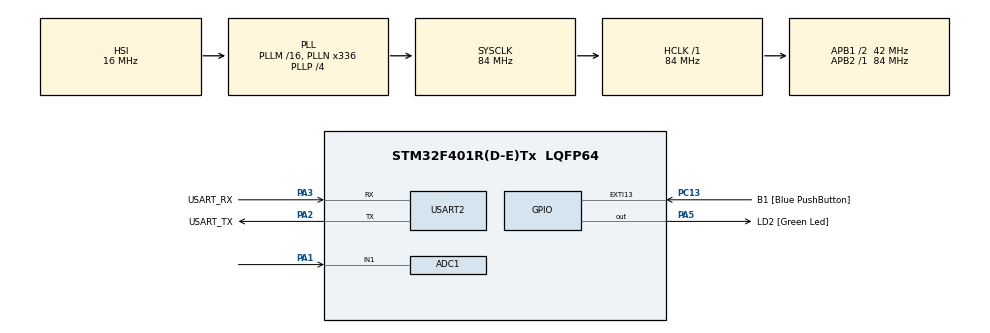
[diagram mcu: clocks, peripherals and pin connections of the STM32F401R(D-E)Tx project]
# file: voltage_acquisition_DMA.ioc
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ADC1.Channel-0\#ChannelRegularConversion=ADC_CHANNEL_1
ADC1.Channel-1\#ChannelRegularConversion=ADC_CHANNEL_TEMPSENSOR
ADC1.Channel-2\#ChannelRegularConversion=ADC_CHANNEL_VREFINT
ADC1.DMAContinuousRequests=ENABLE
ADC1.EnableAnalogWatchDog=false
ADC1.ExternalTrigConv=ADC_EXTERNALTRIGCONV_T2_TRGO
ADC1.InjNumberOfConversion=0
ADC1.NbrOfConversion=3
ADC1.NbrOfConversionFlag=1
ADC1.Rank-0\#ChannelRegularConversion=1
ADC1.Rank-1\#ChannelRegularConversion=2
ADC1.Rank-2\#ChannelRegularConversion=3
ADC1.SamplingTime-0\#ChannelRegularConversion=ADC_SAMPLETIME_480CYCLES
ADC1.SamplingTime-1\#ChannelRegularConversion=ADC_SAMPLETIME_480CYCLES
ADC1.SamplingTime-2\#ChannelRegularConversion=ADC_SAMPLETIME_480CYCLES
ADC1.master=1
Dma.ADC1.0.Direction=DMA_PERIPH_TO_MEMORY
Dma.ADC1.0.FIFOMode=DMA_FIFOMODE_DISABLE
Dma.ADC1.0.Instance=DMA2_Stream0
Dma.ADC1.0.MemDataAlignment=DMA_MDATAALIGN_HALFWORD
Dma.ADC1.0.MemInc=DMA_MINC_ENABLE
Dma.ADC1.0.Mode=DMA_CIRCULAR
Dma.ADC1.0.PeriphDataAlignment=DMA_PDATAALIGN_HALFWORD
Dma.ADC1.0.PeriphInc=DMA_PINC_DISABLE
Dma.ADC1.0.Priority=DMA_PRIORITY_VERY_HIGH
Dma.Request0=ADC1
Dma.Request1=USART2_TX
Dma.USART2_TX.1.Direction=DMA_MEMORY_TO_PERIPH
Dma.USART2_TX.1.FIFOMode=DMA_FIFOMODE_DISABLE
Dma.USART2_TX.1.Instance=DMA1_Stream6
Dma.USART2_TX.1.MemDataAlignment=DMA_MDATAALIGN_BYTE
Dma.USART2_TX.1.MemInc=DMA_MINC_ENABLE
Dma.USART2_TX.1.Mode=DMA_NORMAL
Dma.USART2_TX.1.PeriphDataAlignment=DMA_PDATAALIGN_BYTE
Dma.USART2_TX.1.PeriphInc=DMA_PINC_DISABLE
Dma.USART2_TX.1.Priority=DMA_PRIORITY_HIGH
Mcu.Family=STM32F4
Mcu.Name=STM32F401R(D-E)Tx
Mcu.Package=LQFP64
NVIC.ADC_IRQn=true\:0\:0\:false\:false\:true\:true\:true\:true
NVIC.DMA1_Stream6_IRQn=true\:0\:0\:false\:false\:true\:false\:true\:true
NVIC.DMA2_Stream0_IRQn=true\:0\:0\:false\:false\:true\:false\:true\:true
NVIC.PriorityGroup=NVIC_PRIORITYGROUP_4
NVIC.USART2_IRQn=true\:0\:0\:false\:false\:true\:true\:true\:true
PA1.Signal=ADCx_IN1
PA13.GPIO_Label=TMS
PA13.Mode=Trace_Asynchronous_SW
PA13.Signal=SYS_JTMS-SWDIO
PA14.GPIO_Label=TCK
PA14.Mode=Trace_Asynchronous_SW
PA14.Signal=SYS_JTCK-SWCLK
PA2.GPIO_Label=USART_TX
PA2.GPIO_Mode=GPIO_MODE_AF_PP
PA2.GPIO_PuPd=GPIO_NOPULL
PA2.GPIO_Speed=GPIO_SPEED_FREQ_LOW
PA2.Mode=Asynchronous
PA2.Signal=USART2_TX
PA3.GPIO_Label=USART_RX
PA3.GPIO_Mode=GPIO_MODE_AF_PP
PA3.GPIO_PuPd=GPIO_NOPULL
PA3.GPIO_Speed=GPIO_SPEED_FREQ_LOW
PA3.Mode=Asynchronous
PA3.Signal=USART2_RX
PA5.GPIO_Label=LD2 [Green Led]
PA5.GPIO_Mode=GPIO_MODE_OUTPUT_PP
PA5.GPIO_PuPd=GPIO_NOPULL
PA5.GPIO_Speed=GPIO_SPEED_FREQ_LOW
PA5.Signal=GPIO_Output
PB3.GPIO_Label=SWO
PB3.Mode=Trace_Asynchronous_SW
PB3.Signal=SYS_JTDO-SWO
PC13-ANTI_TAMP.GPIO_Label=B1 [Blue PushButton]
PC13-ANTI_TAMP.GPIO_ModeDefaultEXTI=GPIO_MODE_IT_FALLING
PC13-ANTI_TAMP.GPIO_PuPd=GPIO_NOPULL
PC13-ANTI_TAMP.Signal=GPXTI13
PC14-OSC32_IN.Mode=LSE-External-Oscillator
PC14-OSC32_IN.Signal=RCC_OSC32_IN
PC15-OSC32_OUT.Mode=LSE-External-Oscillator
PC15-OSC32_OUT.Signal=RCC_OSC32_OUT
PH0\ -\ OSC_IN.Mode=HSE-External-Clock-Source
PH0\ -\ OSC_IN.Signal=RCC_OSC_IN
PH1\ -\ OSC_OUT.Mode=HSE-External-Clock-Source
PH1\ -\ OSC_OUT.Signal=RCC_OSC_OUT
ProjectManager.HeapSize=0x200
ProjectManager.StackSize=0x400
ProjectManager.TargetToolchain=STM32CubeIDE
RCC.48MHZClocksFreq_Value=48000000
RCC.AHBFreq_Value=84000000
RCC.APB1CLKDivider=RCC_HCLK_DIV2
RCC.APB1Freq_Value=42000000
RCC.APB1TimFreq_Value=84000000
RCC.APB2Freq_Value=84000000
RCC.APB2TimFreq_Value=84000000
RCC.CortexFreq_Value=84000000
RCC.HCLKFreq_Value=84000000
RCC.HSE_VALUE=8000000
RCC.HSI_VALUE=16000000
RCC.PLLN=336
RCC.PLLP=RCC_PLLP_DIV4
RCC.PLLQ=7
RCC.SYSCLKFreq_VALUE=84000000
RCC.SYSCLKSource=RCC_SYSCLKSOURCE_PLLCLK
RCC.VCOOutputFreq_Value=336000000
SH.ADCx_IN1.0=ADC1_IN1,IN1
TIM2.Period=10000-1
TIM2.Prescaler=8400-1
TIM2.TIM_MasterOutputTrigger=TIM_TRGO_UPDATE
USART2.VirtualMode=VM_ASYNC
VP_ADC1_TempSens_Input.Mode=IN-TempSens
VP_ADC1_Vref_Input.Mode=IN-Vrefint
VP_TIM2_VS_ClockSourceINT.Mode=Internal
board=NUCLEO-F401RE

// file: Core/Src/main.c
/* USER CODE BEGIN Header */
/**
  ******************************************************************************
  * @file           : main.c
  * @brief          : Main program body
  ******************************************************************************
  * @attention
  *
  * Copyright (c) 2025 STMicroelectronics.
  * All rights reserved.
  *
  * This software is licensed under terms that can be found in the LICENSE file
  * in the root directory of this software component.
  * If no LICENSE file comes with this software, it is provided AS-IS.
  *
  ******************************************************************************
  */
/* USER CODE END Header */
#include "main.h"

/* USER CODE BEGIN Includes */
#include <string.h>
#include <stdio.h>
/* USER CODE END Includes */

/* USER CODE BEGIN PD */
#define RESOLUTION_STEPS 4096
#define FSR 3.3
#define V25 0.76
#define AVG_SLOPE 0.0025
#define ACQUISITIONS 3
/* USER CODE END PD */

ADC_HandleTypeDef hadc1;
DMA_HandleTypeDef hdma_adc1;

TIM_HandleTypeDef htim2;

UART_HandleTypeDef huart2;
DMA_HandleTypeDef hdma_usart2_tx;

/* USER CODE BEGIN PV */
uint16_t voltages[ACQUISITIONS];
float volt1, volt2, volt3;
char string[128];
/* USER CODE END PV */

void SystemClock_Config(void);
static void MX_GPIO_Init(void);
static void MX_DMA_Init(void);
static void MX_USART2_UART_Init(void);
static void MX_ADC1_Init(void);
static void MX_TIM2_Init(void);
/* USER CODE BEGIN PFP */
void HAL_ADC_ConvCpltCallback(ADC_HandleTypeDef *hadc){
//	HAL_GPIO_TogglePin(LD2_GPIO_Port, LD2_Pin);

	if(hadc->Instance == ADC1){
		volt1 = voltages[0] * FSR/ RESOLUTION_STEPS;
		volt2 = ((voltages[1] * FSR/ RESOLUTION_STEPS) - V25)/ AVG_SLOPE + 25;
		volt3 = voltages[2] * FSR/ RESOLUTION_STEPS;

		int length = snprintf(string, sizeof(string), "Voltage Potentiometer: %.3f, Temperature: %.3f, Voltage Ref: %.3f\n", volt1, volt2, volt3);
		HAL_UART_Transmit_DMA(&huart2, string, sizeof(string));
	}
}
/* USER CODE END PFP */

int main(void)
{

  /* MCU Configuration--------------------------------------------------------*/

  /* Reset of all peripherals, Initializes the Flash interface and the Systick. */
  HAL_Init();

  /* Configure the system clock */
  SystemClock_Config();

  /* Initialize all configured peripherals */
  MX_GPIO_Init();
  MX_DMA_Init();
  MX_USART2_UART_Init();
  MX_ADC1_Init();
  MX_TIM2_Init();
  /* USER CODE BEGIN 2 */
  HAL_TIM_Base_Start(&htim2);
  HAL_ADC_Start_DMA(&hadc1, voltages, ACQUISITIONS);
  /* USER CODE END 2 */

  /* Infinite loop */
  while (1)
  {

  }
}

void SystemClock_Config(void)
{
  RCC_OscInitTypeDef RCC_OscInitStruct = {0};
  RCC_ClkInitTypeDef RCC_ClkInitStruct = {0};

  /** Configure the main internal regulator output voltage
  */
  __HAL_RCC_PWR_CLK_ENABLE();
  __HAL_PWR_VOLTAGESCALING_CONFIG(PWR_REGULATOR_VOLTAGE_SCALE2);

  /** Initializes the RCC Oscillators according to the specified parameters
  * in the RCC_OscInitTypeDef structure.
  */
  RCC_OscInitStruct.OscillatorType = RCC_OSCILLATORTYPE_HSI;
  RCC_OscInitStruct.HSIState = RCC_HSI_ON;
  RCC_OscInitStruct.HSICalibrationValue = RCC_HSICALIBRATION_DEFAULT;
  RCC_OscInitStruct.PLL.PLLState = RCC_PLL_ON;
  RCC_OscInitStruct.PLL.PLLSource = RCC_PLLSOURCE_HSI;
  RCC_OscInitStruct.PLL.PLLM = 16;
  RCC_OscInitStruct.PLL.PLLN = 336;
  RCC_OscInitStruct.PLL.PLLP = RCC_PLLP_DIV4;
  RCC_OscInitStruct.PLL.PLLQ = 7;
  if (HAL_RCC_OscConfig(&RCC_OscInitStruct) != HAL_OK)
  {
    Error_Handler();
  }

  /** Initializes the CPU, AHB and APB buses clocks
  */
  RCC_ClkInitStruct.ClockType = RCC_CLOCKTYPE_HCLK|RCC_CLOCKTYPE_SYSCLK
                              |RCC_CLOCKTYPE_PCLK1|RCC_CLOCKTYPE_PCLK2;
  RCC_ClkInitStruct.SYSCLKSource = RCC_SYSCLKSOURCE_PLLCLK;
  RCC_ClkInitStruct.AHBCLKDivider = RCC_SYSCLK_DIV1;
  RCC_ClkInitStruct.APB1CLKDivider = RCC_HCLK_DIV2;
  RCC_ClkInitStruct.APB2CLKDivider = RCC_HCLK_DIV1;

  if (HAL_RCC_ClockConfig(&RCC_ClkInitStruct, FLASH_LATENCY_2) != HAL_OK)
  {
    Error_Handler();
  }
}

static void MX_ADC1_Init(void)
{

  ADC_ChannelConfTypeDef sConfig = {0};

  /** Configure the global features of the ADC (Clock, Resolution, Data Alignment and number of conversion)
  */
  hadc1.Instance = ADC1;
  hadc1.Init.ClockPrescaler = ADC_CLOCK_SYNC_PCLK_DIV4;
  hadc1.Init.Resolution = ADC_RESOLUTION_12B;
  hadc1.Init.ScanConvMode = ENABLE;
  hadc1.Init.ContinuousConvMode = DISABLE;
  hadc1.Init.DiscontinuousConvMode = DISABLE;
  hadc1.Init.ExternalTrigConvEdge = ADC_EXTERNALTRIGCONVEDGE_RISING;
  hadc1.Init.ExternalTrigConv = ADC_EXTERNALTRIGCONV_T2_TRGO;
  hadc1.Init.DataAlign = ADC_DATAALIGN_RIGHT;
  hadc1.Init.NbrOfConversion = 3;
  hadc1.Init.DMAContinuousRequests = ENABLE;
  hadc1.Init.EOCSelection = ADC_EOC_SINGLE_CONV;
  if (HAL_ADC_Init(&hadc1) != HAL_OK)
  {
    Error_Handler();
  }

  /** Configure for the selected ADC regular channel its corresponding rank in the sequencer and its sample time.
  */
  sConfig.Channel = ADC_CHANNEL_1;
  sConfig.Rank = 1;
  sConfig.SamplingTime = ADC_SAMPLETIME_480CYCLES;
  if (HAL_ADC_ConfigChannel(&hadc1, &sConfig) != HAL_OK)
  {
    Error_Handler();
  }

  /** Configure for the selected ADC regular channel its corresponding rank in the sequencer and its sample time.
  */
  sConfig.Channel = ADC_CHANNEL_TEMPSENSOR;
  sConfig.Rank = 2;
  if (HAL_ADC_ConfigChannel(&hadc1, &sConfig) != HAL_OK)
  {
    Error_Handler();
  }

  /** Configure for the selected ADC regular channel its corresponding rank in the sequencer and its sample time.
  */
  sConfig.Channel = ADC_CHANNEL_VREFINT;
  sConfig.Rank = 3;
  if (HAL_ADC_ConfigChannel(&hadc1, &sConfig) != HAL_OK)
  {
    Error_Handler();
  }

}

static void MX_TIM2_Init(void)
{

  TIM_ClockConfigTypeDef sClockSourceConfig = {0};
  TIM_MasterConfigTypeDef sMasterConfig = {0};

  htim2.Instance = TIM2;
  htim2.Init.Prescaler = 8400-1;
  htim2.Init.CounterMode = TIM_COUNTERMODE_UP;
  htim2.Init.Period = 10000-1;
  htim2.Init.ClockDivision = TIM_CLOCKDIVISION_DIV1;
  htim2.Init.AutoReloadPreload = TIM_AUTORELOAD_PRELOAD_DISABLE;
  if (HAL_TIM_Base_Init(&htim2) != HAL_OK)
  {
    Error_Handler();
  }
  sClockSourceConfig.ClockSource = TIM_CLOCKSOURCE_INTERNAL;
  if (HAL_TIM_ConfigClockSource(&htim2, &sClockSourceConfig) != HAL_OK)
  {
    Error_Handler();
  }
  sMasterConfig.MasterOutputTrigger = TIM_TRGO_UPDATE;
  sMasterConfig.MasterSlaveMode = TIM_MASTERSLAVEMODE_DISABLE;
  if (HAL_TIMEx_MasterConfigSynchronization(&htim2, &sMasterConfig) != HAL_OK)
  {
    Error_Handler();
  }

}

static void MX_USART2_UART_Init(void)
{

  huart2.Instance = USART2;
  huart2.Init.BaudRate = 115200;
  huart2.Init.WordLength = UART_WORDLENGTH_8B;
  huart2.Init.StopBits = UART_STOPBITS_1;
  huart2.Init.Parity = UART_PARITY_NONE;
  huart2.Init.Mode = UART_MODE_TX_RX;
  huart2.Init.HwFlowCtl = UART_HWCONTROL_NONE;
  huart2.Init.OverSampling = UART_OVERSAMPLING_16;
  if (HAL_UART_Init(&huart2) != HAL_OK)
  {
    Error_Handler();
  }

}

static void MX_DMA_Init(void)
{

  /* DMA controller clock enable */
  __HAL_RCC_DMA2_CLK_ENABLE();
  __HAL_RCC_DMA1_CLK_ENABLE();

  /* DMA interrupt init */
  /* DMA1_Stream6_IRQn interrupt configuration */
  HAL_NVIC_SetPriority(DMA1_Stream6_IRQn, 0, 0);
  HAL_NVIC_EnableIRQ(DMA1_Stream6_IRQn);
  /* DMA2_Stream0_IRQn interrupt configuration */
  HAL_NVIC_SetPriority(DMA2_Stream0_IRQn, 0, 0);
  HAL_NVIC_EnableIRQ(DMA2_Stream0_IRQn);

}

static void MX_GPIO_Init(void)
{
  GPIO_InitTypeDef GPIO_InitStruct = {0};

  /* GPIO Ports Clock Enable */
  __HAL_RCC_GPIOC_CLK_ENABLE();
  __HAL_RCC_GPIOH_CLK_ENABLE();
  __HAL_RCC_GPIOA_CLK_ENABLE();
  __HAL_RCC_GPIOB_CLK_ENABLE();

  /*Configure GPIO pin Output Level */
  HAL_GPIO_WritePin(LD2_GPIO_Port, LD2_Pin, GPIO_PIN_RESET);

  /*Configure GPIO pin : B1_Pin */
  GPIO_InitStruct.Pin = B1_Pin;
  GPIO_InitStruct.Mode = GPIO_MODE_IT_FALLING;
  GPIO_InitStruct.Pull = GPIO_NOPULL;
  HAL_GPIO_Init(B1_GPIO_Port, &GPIO_InitStruct);

  /*Configure GPIO pin : LD2_Pin */
  GPIO_InitStruct.Pin = LD2_Pin;
  GPIO_InitStruct.Mode = GPIO_MODE_OUTPUT_PP;
  GPIO_InitStruct.Pull = GPIO_NOPULL;
  GPIO_InitStruct.Speed = GPIO_SPEED_FREQ_LOW;
  HAL_GPIO_Init(LD2_GPIO_Port, &GPIO_InitStruct);

}

void Error_Handler(void)
{
  __disable_irq();
  while (1)
  {
  }
}
